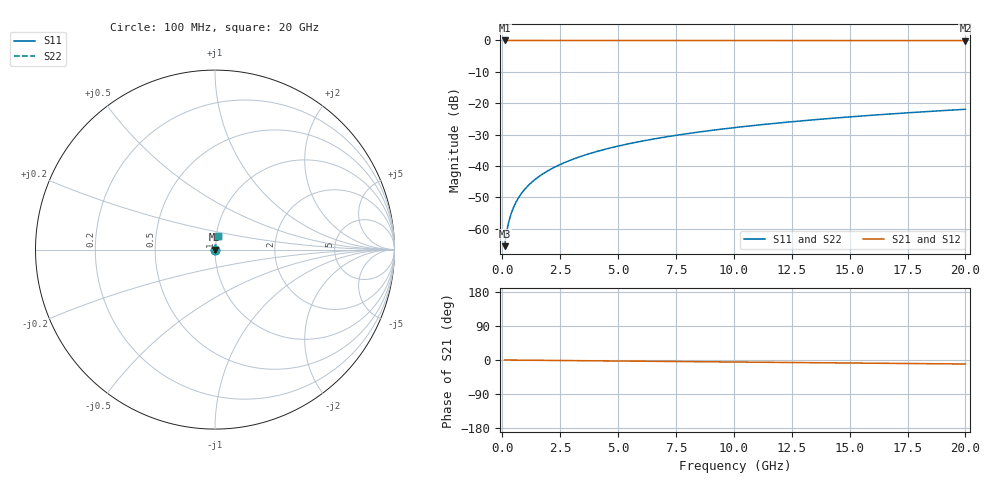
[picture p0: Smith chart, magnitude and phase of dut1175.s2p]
! Touchstone file exported from HFSS 2026.1.0
!  File:  C:/ffzhzh/LocalFiles/Ansys_Project_Files/temp_train_TSV_1175_1783192064_51560.aedt
!  Generated:  03:09:47 AM Jul  5, 2026
!  Design:  TSV
!  Project:  temp_train_TSV_1175_1783192064_51560
! Variables:
!  h_bsmrdl = 2um
!  h_ox = 20um
!  h_rdl = 5um
!  h_sub = 92.97um
!  h_tmrdl = 5um
!  h_tsv = 92.97um
!  h_via = 3um
!  l_bsmrdl = 300um
!  l_sub = 413.32um
!  l_tmrdl = 200um
!  m_sub = 200um
!  pitch = 52.41um
!  r_tsv = 6.66um
!  s_tmrdl = 10um
!  w_bsmrdl = 18um
!  w_sub = 500um
!  w_tmrdl = 12um
!  x_tsv_center1 = 206um
!  x_tsv_center2 = 524um
!  x_tsv_center3 = 736um
!  x_tsv_center4 = 1054um
!  x_tsv_center5 = 1266um
!  x_tsv_center6 = 1584um
# GHz S MA R 50.000000
! Terminal data exported
! Port[1] = TSV1_1_T1
! Port[2] = TSV1_1_T2
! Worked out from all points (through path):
!   200 points, 100 MHz to 20 GHz, reference 50 ohm
!   highest |S21| = 0.00 dB at 100 MHz (marker M1); lowest = 0.0 dB at 20 GHz (marker M2)
!   group delay of S21, straight-line fit = 1.46 ps
!   lowest |S11| = -65.6 dB at 100 MHz (marker M3), VSWR 1.00, Z = 50 + j0.045 ohm
!   |S11| at or under -10 dB: start of sweep to end of sweep
!   |S22| runs from -65.6 to -21.9 dB; largest |S21 - S12| = 3e-15
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0.1  0.0005264 58.7  0.9997 -0.1  0.9997 -0.1  0.0005264 58.7
! Gamma 0 0 0 0
! Port Impedance 50 0 50 0
0.2  0.0009421 72.5  0.9997 -0.1  0.9997 -0.1  0.0009421 72.5
0.3  0.001377 77.4  0.9997 -0.2  0.9997 -0.2  0.001377 77.4
0.4  0.001813 79.7  0.9997 -0.2  0.9997 -0.2  0.001813 79.7
0.5  0.002248 81.1  0.9997 -0.3  0.9997 -0.3  0.002248 81.1
0.6  0.002679 81.9  0.9996 -0.3  0.9996 -0.3  0.002679 81.9
0.7  0.003107 82.5  0.9996 -0.4  0.9996 -0.4  0.003107 82.5
0.8  0.003531 82.9  0.9996 -0.4  0.9996 -0.4  0.003531 82.9
1  0.004372 83.5  0.9995 -0.5  0.9995 -0.5  0.004372 83.5
1.4  0.00603 84.2  0.9994 -0.8  0.9994 -0.8  0.00603 84.2
1.7  0.007265 84.5  0.9994 -0.9  0.9994 -0.9  0.007265 84.5
2  0.008496 84.7  0.9993 -1.1  0.9993 -1.1  0.008496 84.7
2.7  0.01136 85.0  0.9992 -1.5  0.9992 -1.5  0.01136 85.0
3.5  0.01462 85.0  0.9991 -1.9  0.9991 -1.9  0.01462 85.0
4.2  0.01747 84.9  0.999 -2.2  0.999 -2.2  0.01747 84.9
5  0.0207 84.7  0.9988 -2.7  0.9988 -2.7  0.0207 84.7
6.8  0.02794 84.1  0.9985 -3.6  0.9985 -3.6  0.02794 84.1
8.3  0.03394 83.5  0.9982 -4.4  0.9982 -4.4  0.03394 83.5
10.1  0.04112 82.7  0.9978 -5.4  0.9978 -5.4  0.04112 82.7
13.4  0.05419 81.3  0.997 -7.1  0.997 -7.1  0.05419 81.3
16.7  0.06715 79.7  0.996 -8.8  0.996 -8.8  0.06715 79.7
20  0.07998 78.1  0.9949 -10.6  0.9949 -10.6  0.07998 78.1
